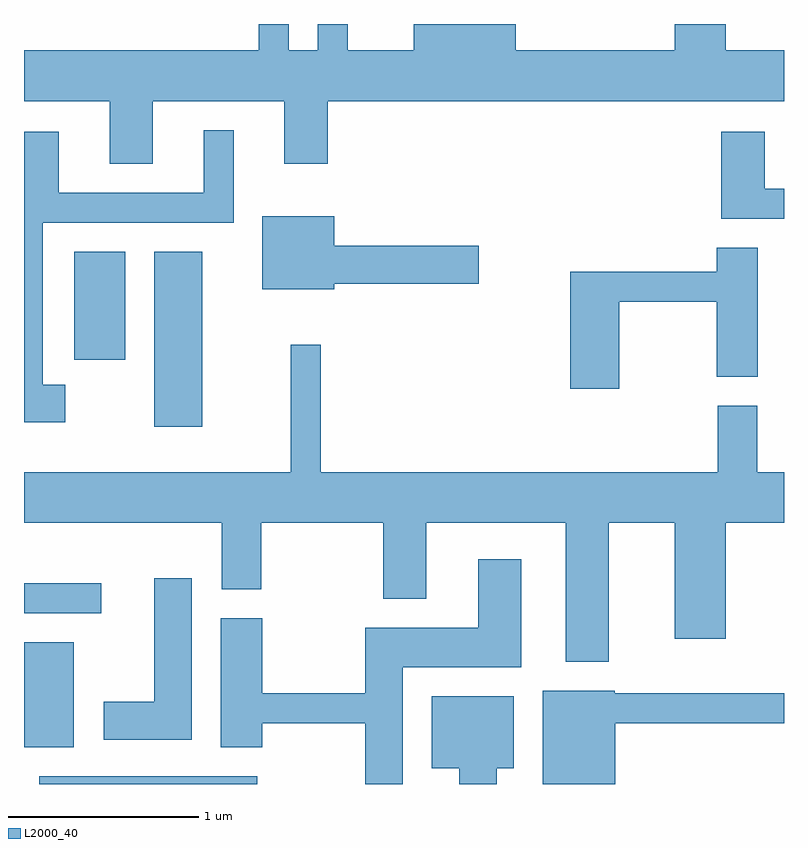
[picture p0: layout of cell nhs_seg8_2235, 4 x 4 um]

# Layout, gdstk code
import gdstk
lib = gdstk.Library(unit=1e-6, precision=1e-09)
def R(c, l, rs):  # rectangles x0, y0, x1, y1
    for r in rs: c.add(gdstk.rectangle(r[:2], r[2:], *l))
def P(c, l, *ps):  # polygons
    for p in ps: c.add(gdstk.Polygon(p, *l))
L2000_40 = (2000, 40)

nhs_seg8_2235 = lib.new_cell('nhs_seg8_2235')
R(nhs_seg8_2235, L2000_40, [(251.691,1868.342,252.839,1868.384), (251.611,1868.536,251.874,1869.089), (251.611,1869.241,252.018,1869.399), (252.296,1870.221,252.549,1871.144), (251.876,1870.576,252.144,1871.144)])
P(nhs_seg8_2235, L2000_40, [(252.289,1871.936),(252.981,1871.936),(252.981,1871.606),(253.209,1871.606),(253.209,1871.936),(255.611,1871.936),(255.611,1872.204),(255.304,1872.204),(255.304,1872.342),(255.036,1872.342),(255.036,1872.204),(254.199,1872.204),(254.199,1872.342),(253.661,1872.342),(253.661,1872.204),(253.314,1872.204),(253.314,1872.342),(253.156,1872.342),(253.156,1872.204),(253.004,1872.204),(253.004,1872.342),(252.846,1872.342),(252.846,1872.204),(251.611,1872.204),(251.611,1871.936),(252.061,1871.936),(252.061,1871.606),(252.289,1871.606)],
  [(251.829,1870.444),(251.709,1870.444),(251.709,1871.296),(252.714,1871.296),(252.714,1871.783),(252.556,1871.783),(252.556,1871.454),(251.794,1871.454),(251.794,1871.774),(251.611,1871.774),(251.611,1870.246),(251.829,1870.246)],
  [(255.611,1871.474),(255.509,1871.474),(255.509,1871.774),(255.281,1871.774),(255.281,1871.316),(255.611,1871.316)],
  [(253.244,1870.976),(254.004,1870.976),(254.004,1871.174),(253.244,1871.174),(253.244,1871.329),(252.866,1871.329),(252.866,1870.946),(253.244,1870.946)],
  [(254.744,1870.881),(255.256,1870.881),(255.256,1870.486),(255.474,1870.486),(255.474,1871.164),(255.256,1871.164),(255.256,1871.039),(254.486,1871.039),(254.486,1870.421),(254.744,1870.421)],
  [(254.689,1869.716),(255.036,1869.716),(255.036,1869.106),(255.304,1869.106),(255.304,1869.716),(255.611,1869.716),(255.611,1869.984),(255.469,1869.984),(255.469,1870.334),(255.261,1870.334),(255.261,1869.984),(253.174,1869.984),(253.174,1870.653),(253.016,1870.653),(253.016,1869.984),(251.611,1869.984),(251.611,1869.716),(252.651,1869.716),(252.651,1869.366),(252.859,1869.366),(252.859,1869.716),(253.501,1869.716),(253.501,1869.316),(253.729,1869.316),(253.729,1869.716),(254.461,1869.716),(254.461,1868.986),(254.689,1868.986)],
  [(253.604,1868.956),(254.229,1868.956),(254.229,1869.524),(254.001,1869.524),(254.001,1869.164),(253.406,1869.164),(253.406,1868.819),(252.864,1868.819),(252.864,1869.214),(252.646,1869.214),(252.646,1868.536),(252.864,1868.536),(252.864,1868.661),(253.406,1868.661),(253.406,1868.342),(253.604,1868.342)],
  [(252.494,1869.424),(252.296,1869.424),(252.296,1868.774),(252.031,1868.774),(252.031,1868.576),(252.494,1868.576)],
  [(254.724,1868.661),(255.611,1868.661),(255.611,1868.819),(254.72,1868.819),(254.72,1868.834),(254.341,1868.834),(254.341,1868.342),(254.724,1868.342)],
  [(254.099,1868.426),(254.189,1868.426),(254.189,1868.804),(253.756,1868.804),(253.756,1868.426),(253.901,1868.426),(253.901,1868.342),(254.099,1868.342)])

lib.write_gds('nhs_seg8_2235.gds')
